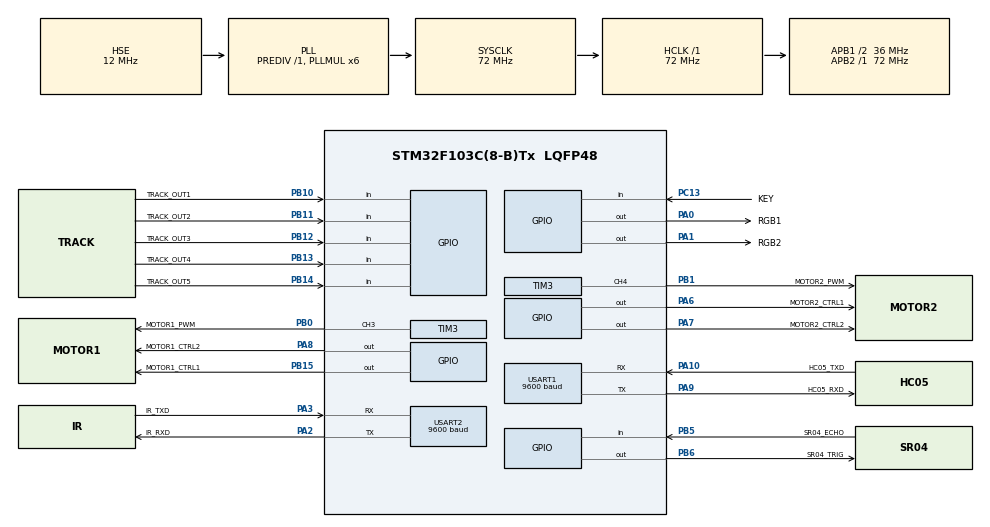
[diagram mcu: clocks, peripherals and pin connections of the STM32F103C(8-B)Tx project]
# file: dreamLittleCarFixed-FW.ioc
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Mcu.Family=STM32F1
Mcu.Name=STM32F103C(8-B)Tx
Mcu.Package=LQFP48
NVIC.PriorityGroup=NVIC_PRIORITYGROUP_4
NVIC.USART2_IRQn=true\:0\:0\:false\:false\:true\:true\:true
PA0-WKUP.GPIO_Label=RGB1
PA0-WKUP.PinState=GPIO_PIN_SET
PA0-WKUP.Signal=GPIO_Output
PA1.GPIO_Label=RGB2
PA1.PinState=GPIO_PIN_SET
PA1.Signal=GPIO_Output
PA10.GPIO_Label=HC05_TXD
PA10.Mode=Asynchronous
PA10.Signal=USART1_RX
PA13.Mode=Serial_Wire
PA13.Signal=SYS_JTMS-SWDIO
PA14.Mode=Serial_Wire
PA14.Signal=SYS_JTCK-SWCLK
PA2.GPIO_Label=IR_RXD
PA2.Mode=Asynchronous
PA2.Signal=USART2_TX
PA3.GPIO_Label=IR_TXD
PA3.Mode=Asynchronous
PA3.Signal=USART2_RX
PA6.GPIO_Label=MOTOR2_CTRL1
PA6.Signal=GPIO_Output
PA7.GPIO_Label=MOTOR2_CTRL2
PA7.Signal=GPIO_Output
PA8.GPIO_Label=MOTOR1_CTRL2
PA8.Signal=GPIO_Output
PA9.GPIO_Label=HC05_RXD
PA9.Mode=Asynchronous
PA9.Signal=USART1_TX
PB0.GPIO_Label=MOTOR1_PWM
PB0.Signal=S_TIM3_CH3
PB1.GPIO_Label=MOTOR2_PWM
PB1.Signal=S_TIM3_CH4
PB10.GPIO_Label=TRACK_OUT1
PB10.Signal=GPIO_Input
PB11.GPIO_Label=TRACK_OUT2
PB11.Signal=GPIO_Input
PB12.GPIO_Label=TRACK_OUT3
PB12.Signal=GPIO_Input
PB13.GPIO_Label=TRACK_OUT4
PB13.Signal=GPIO_Input
PB14.GPIO_Label=TRACK_OUT5
PB14.Signal=GPIO_Input
PB15.GPIO_Label=MOTOR1_CTRL1
PB15.Signal=GPIO_Output
PB5.GPIO_Label=SR04_ECHO
PB5.Signal=GPIO_Input
PB6.GPIO_Label=SR04_TRIG
PB6.GPIO_PuPd=GPIO_PULLDOWN
PB6.GPIO_Speed=GPIO_SPEED_FREQ_HIGH
PB6.Signal=GPIO_Output
PC13-TAMPER-RTC.GPIO_Label=KEY
PC13-TAMPER-RTC.GPIO_PuPd=GPIO_PULLUP
PC13-TAMPER-RTC.Signal=GPIO_Input
PC14-OSC32_IN.Mode=LSE-External-Oscillator
PC14-OSC32_IN.Signal=RCC_OSC32_IN
PC15-OSC32_OUT.Mode=LSE-External-Oscillator
PC15-OSC32_OUT.Signal=RCC_OSC32_OUT
PD0-OSC_IN.Mode=HSE-External-Oscillator
PD0-OSC_IN.Signal=RCC_OSC_IN
PD1-OSC_OUT.Mode=HSE-External-Oscillator
PD1-OSC_OUT.Signal=RCC_OSC_OUT
ProjectManager.HeapSize=0x200
ProjectManager.StackSize=0x400
ProjectManager.TargetToolchain=SW4STM32
RCC.AHBFreq_Value=72000000
RCC.APB1CLKDivider=RCC_HCLK_DIV2
RCC.APB1Freq_Value=36000000
RCC.APB1TimFreq_Value=72000000
RCC.APB2Freq_Value=72000000
RCC.APB2TimFreq_Value=72000000
RCC.HCLKFreq_Value=72000000
RCC.HSE_VALUE=12000000
RCC.PLLMUL=RCC_PLL_MUL6
RCC.PLLSourceVirtual=RCC_PLLSOURCE_HSE
RCC.SYSCLKFreq_VALUE=72000000
RCC.SYSCLKSource=RCC_SYSCLKSOURCE_PLLCLK
RCC.USBFreq_Value=72000000
SH.S_TIM3_CH3.0=TIM3_CH3,PWM Generation3 CH3
SH.S_TIM3_CH4.0=TIM3_CH4,PWM Generation4 CH4
TIM2.Prescaler=71
TIM3.AutoReloadPreload=TIM_AUTORELOAD_PRELOAD_ENABLE
TIM3.Channel-PWM\ Generation3\ CH3=TIM_CHANNEL_3
TIM3.Channel-PWM\ Generation4\ CH4=TIM_CHANNEL_4
TIM3.Period=499
TIM3.Prescaler=71
TIM4.Prescaler=71
USART1.BaudRate=9600
USART1.VirtualMode=VM_ASYNC
USART2.BaudRate=9600
USART2.VirtualMode=VM_ASYNC
VP_TIM2_VS_ClockSourceINT.Mode=Internal
VP_TIM4_VS_ClockSourceINT.Mode=Internal
board=custom

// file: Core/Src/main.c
/* USER CODE BEGIN Header */
/**
  ******************************************************************************
  * @file           : main.c
  * @brief          : Main program body
  ******************************************************************************
  * @attention
  *
  * Copyright (c) 2023 STMicroelectronics.
  * All rights reserved.
  *
  * This software is licensed under terms that can be found in the LICENSE file
  * in the root directory of this software component.
  * If no LICENSE file comes with this software, it is provided AS-IS.
  *
  ******************************************************************************
  * CH -> 00 FF 46 -> MODE SWITCH
  * - -> 00 FF 07 -> STOP
  * 2 -> 00 FF 18 -> FORWARD
  * 8 -> 00 FF 52 -> BACK
  * 4 -> 00 FF 08 -> LEFT
  * 6 -> 00 FF 5A -> RIGHT
  * play -> 00 FF 43 -> GO
  */
/* USER CODE END Header */
#include "main.h"
#include "tim.h"
#include "usart.h"
#include "gpio.h"

/* USER CODE BEGIN Includes */
#include <stdio.h>
#include <string.h>
/* USER CODE END Includes */

/* USER CODE BEGIN PD */
#define TRACK1 HAL_GPIO_ReadPin(TRACK_OUT1_GPIO_Port, TRACK_OUT1_Pin)
#define TRACK2 HAL_GPIO_ReadPin(TRACK_OUT2_GPIO_Port, TRACK_OUT2_Pin)
#define TRACK3 HAL_GPIO_ReadPin(TRACK_OUT3_GPIO_Port, TRACK_OUT3_Pin)
#define TRACK4 HAL_GPIO_ReadPin(TRACK_OUT4_GPIO_Port, TRACK_OUT4_Pin)
#define TRACK5 HAL_GPIO_ReadPin(TRACK_OUT5_GPIO_Port, TRACK_OUT5_Pin)

#define sr04TrigHigh() HAL_GPIO_WritePin(SR04_TRIG_GPIO_Port,SR04_TRIG_Pin,GPIO_PIN_SET)
#define sr04TrigLow()  HAL_GPIO_WritePin(SR04_TRIG_GPIO_Port,SR04_TRIG_Pin,GPIO_PIN_RESET)
#define sr04Echo()  HAL_GPIO_ReadPin(SR04_ECHO_GPIO_Port,SR04_ECHO_Pin)
/* USER CODE END PD */

/* USER CODE BEGIN PM */
uint8_t ifMsgGet = 0;
uint8_t msg = 0;
uint8_t speed = 0;
uint8_t tickFlag = 0;
uint16_t pwmVal = 1;

float kp = 30;
float ki = 1.3;
float kd = 3.5;

extern uint16_t msHcCount = 0;

uint16_t cntWhile;

uint8_t firstTimeRun = 1;

uint8_t rxBuffer[4], rxFlag; // 4 bits buffer enough
uint8_t rxMsg;
uint8_t offSet;

uint8_t carMode = 0; //0->bluetooth 1->IR

uint8_t irStart = 0;
uint8_t irStop = 0;
/* USER CODE END PM */

void SystemClock_Config(void);

/* USER CODE BEGIN PFP */
void littleCarMove();

void goForward();

void goBack();

void turnLeft();

void turnRight();

void turnLeftIR();

void turnRightIR();

void stopAll();

float pidOutput();

void sr04Init();

void sr04TimerMode(uint8_t mode);

float sr04GetDistant();

float sr04GetDistantAfterFilter(uint8_t cnt);

void delayus(uint32_t nus);
/* USER CODE END PFP */

int main(void)
{

  /* MCU Configuration--------------------------------------------------------*/

  /* Reset of all peripherals, Initializes the Flash interface and the Systick. */
  HAL_Init();

  /* Configure the system clock */
  SystemClock_Config();

  /* Initialize all configured peripherals */
  MX_GPIO_Init();
  MX_TIM3_Init();
  MX_USART1_UART_Init();
  MX_TIM4_Init();
  MX_TIM2_Init();
  MX_USART2_UART_Init();
  /* USER CODE BEGIN 2 */

  pwmVal = 230;

  HAL_TIM_PWM_Start(&htim3, TIM_CHANNEL_3);
  HAL_TIM_PWM_Start(&htim3, TIM_CHANNEL_4);

  HAL_UART_Receive_IT(&huart2, (uint8_t *)&rxMsg, 1);
  /* USER CODE END 2 */

  /* Infinite loop */
  /* USER CODE BEGIN WHILE */
  HAL_UART_Transmit(&huart1, "Ready!\r\n", sizeof("Ready!\r\n"), 20);
  HAL_UART_Transmit(&huart1, "Waiting...\r\n", sizeof("Waiting...\r\n"), 20);
  HAL_UART_Transmit(&huart1, "Motor Power:", sizeof("Motor Power:"), 20);
  char powerMsg[10] = "";
  sprintf(powerMsg, "%.2f", 1000000.0 / pwmVal / 10000.0);
  HAL_UART_Transmit(&huart1, powerMsg, sizeof(powerMsg), 20);

    __HAL_TIM_SetCompare(&htim3, TIM_CHANNEL_3, pwmVal);
    __HAL_TIM_SetCompare(&htim3, TIM_CHANNEL_4, pwmVal - 30);

  while (1)
  {
    /* USER CODE END WHILE */

    /* USER CODE BEGIN 3 */

    if(rxFlag == 1) //receive message
    {
      //switch mode
      //HAL_UART_Transmit(&huart1, &rxBuffer[2], sizeof(rxBuffer[2]), 13);

      if (rxBuffer[2] == 0x46)
      {
        carMode++;
        if (carMode > 1)  carMode = 0;
        if (carMode == 1) HAL_UART_Transmit(&huart1, "IR Mode!\r\n", sizeof("IR Mode!\r\n"), 20);
        if (carMode == 0) HAL_UART_Transmit(&huart1, "BT Mode!\r\n", sizeof("BT Mode!\r\n"), 20);
      }

      //stop
      if (rxBuffer[2] == 0x07)
      {
        stopAll();
        irStop = 1;
        HAL_UART_Transmit(&huart1, "Stop By User.\r\n", sizeof("Stop By User.\r\n"), 13);
      }

      //forward
      if (rxBuffer[2] == 0x18 && carMode == 1) goForward();

      //back
      if (rxBuffer[2] == 0x52 && carMode == 1) goBack();

      //turn right
      if (rxBuffer[2] == 0x5A && carMode == 1) turnRightIR();

      //turn left
      if (rxBuffer[2] == 0x08 && carMode == 1) turnLeftIR();

      //start
      if (rxBuffer[2] == 0x43 && carMode == 0) irStart = 1;

      memset(rxBuffer, '\0', sizeof(rxBuffer)); //clear buffer
      rxFlag = 0;
    }

    while ((msg != '1') && HAL_UART_Receive(&huart1, &msg, 1, 0) == HAL_OK);

    if (msg == '1' || !HAL_GPIO_ReadPin(KEY_GPIO_Port, KEY_Pin) || irStart == 1)
    {
      if (irStart == 1) irStart = 0;  //if start by ir, reset flag
      ifMsgGet = 1;
      msg = 0;
    }
    if (ifMsgGet)
    {
      HAL_UART_Transmit(&huart1, "Get!\r\n", sizeof("Get!\r\n"), 20);
      ifMsgGet = 0;

      littleCarMove();
    }
  }
  /* USER CODE END 3 */
}

void SystemClock_Config(void)
{
  RCC_OscInitTypeDef RCC_OscInitStruct = {0};
  RCC_ClkInitTypeDef RCC_ClkInitStruct = {0};

  /** Initializes the RCC Oscillators according to the specified parameters
  * in the RCC_OscInitTypeDef structure.
  */
  RCC_OscInitStruct.OscillatorType = RCC_OSCILLATORTYPE_HSE;
  RCC_OscInitStruct.HSEState = RCC_HSE_ON;
  RCC_OscInitStruct.HSEPredivValue = RCC_HSE_PREDIV_DIV1;
  RCC_OscInitStruct.HSIState = RCC_HSI_ON;
  RCC_OscInitStruct.PLL.PLLState = RCC_PLL_ON;
  RCC_OscInitStruct.PLL.PLLSource = RCC_PLLSOURCE_HSE;
  RCC_OscInitStruct.PLL.PLLMUL = RCC_PLL_MUL6;
  if (HAL_RCC_OscConfig(&RCC_OscInitStruct) != HAL_OK)
  {
    Error_Handler();
  }
  /** Initializes the CPU, AHB and APB buses clocks
  */
  RCC_ClkInitStruct.ClockType = RCC_CLOCKTYPE_HCLK | RCC_CLOCKTYPE_SYSCLK
                                | RCC_CLOCKTYPE_PCLK1 | RCC_CLOCKTYPE_PCLK2;
  RCC_ClkInitStruct.SYSCLKSource = RCC_SYSCLKSOURCE_PLLCLK;
  RCC_ClkInitStruct.AHBCLKDivider = RCC_SYSCLK_DIV1;
  RCC_ClkInitStruct.APB1CLKDivider = RCC_HCLK_DIV2;
  RCC_ClkInitStruct.APB2CLKDivider = RCC_HCLK_DIV1;

  if (HAL_RCC_ClockConfig(&RCC_ClkInitStruct, FLASH_LATENCY_2) != HAL_OK)
  {
    Error_Handler();
  }
}

/* USER CODE BEGIN 4 */
void delayus(uint32_t nus)
{
  uint16_t differ = 0xffff - nus - 5;
    __HAL_TIM_SetCounter(&htim4, differ);
  HAL_TIM_Base_Start(&htim4);

  while (differ < 0xffff - 5)
  {
    differ = __HAL_TIM_GetCounter(&htim4);
  };

  HAL_TIM_Base_Stop(&htim4);
}

void goForward()
{
    __HAL_TIM_SetCompare(&htim3, TIM_CHANNEL_3, pwmVal);    //修改比较值，修改占空�?????
  //__HAL_TIM_SetCompare(&htim3, TIM_CHANNEL_4, pwmVal);    //修改比较值，修改占空�?????
    __HAL_TIM_SetCompare(&htim3, TIM_CHANNEL_4, pwmVal - 8);    //修改比较值，修改占空�?????
  HAL_GPIO_WritePin(MOTOR1_CTRL1_GPIO_Port, MOTOR1_CTRL1_Pin, 1);
  HAL_GPIO_WritePin(MOTOR1_CTRL2_GPIO_Port, MOTOR1_CTRL2_Pin, 0);
  HAL_GPIO_WritePin(MOTOR2_CTRL1_GPIO_Port, MOTOR2_CTRL1_Pin, 0);
  HAL_GPIO_WritePin(MOTOR2_CTRL2_GPIO_Port, MOTOR2_CTRL2_Pin, 1);
}

void goBack()
{
    __HAL_TIM_SetCompare(&htim3, TIM_CHANNEL_3, pwmVal);    //修改比较值，修改占空�?????
  //__HAL_TIM_SetCompare(&htim3, TIM_CHANNEL_4, pwmVal);    //修改比较值，修改占空�?????
    __HAL_TIM_SetCompare(&htim3, TIM_CHANNEL_4, pwmVal - 9);    //修改比较值，修改占空�?????
  HAL_GPIO_WritePin(MOTOR1_CTRL1_GPIO_Port, MOTOR1_CTRL1_Pin, 0);
  HAL_GPIO_WritePin(MOTOR1_CTRL2_GPIO_Port, MOTOR1_CTRL2_Pin, 1);
  HAL_GPIO_WritePin(MOTOR2_CTRL1_GPIO_Port, MOTOR2_CTRL1_Pin, 1);
  HAL_GPIO_WritePin(MOTOR2_CTRL2_GPIO_Port, MOTOR2_CTRL2_Pin, 0);
}

void stopAll()
{
  HAL_GPIO_WritePin(MOTOR1_CTRL1_GPIO_Port, MOTOR1_CTRL1_Pin, 1);
  HAL_GPIO_WritePin(MOTOR1_CTRL2_GPIO_Port, MOTOR1_CTRL2_Pin, 1);
  HAL_GPIO_WritePin(MOTOR2_CTRL1_GPIO_Port, MOTOR2_CTRL1_Pin, 1);
  HAL_GPIO_WritePin(MOTOR2_CTRL2_GPIO_Port, MOTOR2_CTRL2_Pin, 1);
}

void turnLeft()
{
  //电机2反转
//    __HAL_TIM_SetCompare(&htim3, TIM_CHANNEL_3, pwmVal-50);    //修改比较值，修改占空�?????
    __HAL_TIM_SetCompare(&htim3, TIM_CHANNEL_3, pwmVal - 45);    //修改比较值，修改占空�?????
  HAL_GPIO_WritePin(MOTOR1_CTRL1_GPIO_Port, MOTOR1_CTRL1_Pin, 1);
  HAL_GPIO_WritePin(MOTOR1_CTRL2_GPIO_Port, MOTOR1_CTRL2_Pin, 0);
  HAL_GPIO_WritePin(MOTOR2_CTRL1_GPIO_Port, MOTOR2_CTRL1_Pin, 1);
  HAL_GPIO_WritePin(MOTOR2_CTRL2_GPIO_Port, MOTOR2_CTRL2_Pin, 1);
}

void turnLeftIR()
{
    __HAL_TIM_SetCompare(&htim3, TIM_CHANNEL_3, pwmVal);    //修改比较值，修改占空�?????
    __HAL_TIM_SetCompare(&htim3, TIM_CHANNEL_4, pwmVal);    //修改比较值，修改占空�?????
  HAL_GPIO_WritePin(MOTOR1_CTRL1_GPIO_Port, MOTOR1_CTRL1_Pin, 1);
  HAL_GPIO_WritePin(MOTOR1_CTRL2_GPIO_Port, MOTOR1_CTRL2_Pin, 0);
  HAL_GPIO_WritePin(MOTOR2_CTRL1_GPIO_Port, MOTOR2_CTRL1_Pin, 1);
  HAL_GPIO_WritePin(MOTOR2_CTRL2_GPIO_Port, MOTOR2_CTRL2_Pin, 1);
}

void turnRight()
{
  //电机1反转
//  __HAL_TIM_SetCompare(&htim3, TIM_CHANNEL_4, pwmVal-40);    //修改比较值，修改占空�?????
    __HAL_TIM_SetCompare(&htim3, TIM_CHANNEL_4, pwmVal - 40);    //修改比较值，修改占空�?????
  HAL_GPIO_WritePin(MOTOR1_CTRL1_GPIO_Port, MOTOR1_CTRL1_Pin, 1);
  HAL_GPIO_WritePin(MOTOR1_CTRL2_GPIO_Port, MOTOR1_CTRL2_Pin, 1);
  HAL_GPIO_WritePin(MOTOR2_CTRL1_GPIO_Port, MOTOR2_CTRL1_Pin, 0);
  HAL_GPIO_WritePin(MOTOR2_CTRL2_GPIO_Port, MOTOR2_CTRL2_Pin, 1);
}

void turnRightIR()
{
  __HAL_TIM_SetCompare(&htim3, TIM_CHANNEL_3, pwmVal);    //修改比较值，修改占空�?????
  __HAL_TIM_SetCompare(&htim3, TIM_CHANNEL_4, pwmVal);    //修改比较值，修改占空�?????
  HAL_GPIO_WritePin(MOTOR1_CTRL1_GPIO_Port, MOTOR1_CTRL1_Pin, 1);
  HAL_GPIO_WritePin(MOTOR1_CTRL2_GPIO_Port, MOTOR1_CTRL2_Pin, 1);
  HAL_GPIO_WritePin(MOTOR2_CTRL1_GPIO_Port, MOTOR2_CTRL1_Pin, 0);
  HAL_GPIO_WritePin(MOTOR2_CTRL2_GPIO_Port, MOTOR2_CTRL2_Pin, 1);
}

void sr04Init()
{
  sr04TrigHigh();
  delayus(20);
  sr04TrigLow();
}

void sr04TimerMode(uint8_t mode)
{
  //mode=1-->open timer
  //mode=0-->close timer
  if (mode)
  {
      __HAL_TIM_SetCounter(&htim2, 0);
    HAL_TIM_Base_Start(&htim2);
    //HAL_TIM_Base_Start_IT(&htim2);
    msHcCount = 0;
  } else
  {
    HAL_TIM_Base_Stop(&htim2);
    //HAL_TIM_Base_Stop_IT(&htim2);
  }
}

float sr04GetDistant()
{
  sr04Init();
  while (!sr04Echo());
  sr04TimerMode(1);//start timer
  while (sr04Echo());
  sr04TimerMode(0);//stop timer

  return (__HAL_TIM_GetCounter(&htim2)) / 58.0;
}

float sr04GetDistantAfterFilter(uint8_t cnt)
{
  float sum = 0;
  for (int i = 0; i < cnt; i++)
  {
    sum += sr04GetDistant();
  }
  return sum / cnt;
}

float pidOutput()
{
  float err, errPre;
  static float integral;
  float output;

  if (TRACK1 == 1 && TRACK2 == 1 && TRACK3 == 0 && TRACK4 == 1 && TRACK5 == 1) err = 0;

  else if (TRACK1 == 1 && TRACK2 == 0 && TRACK3 == 1 && TRACK4 == 1 && TRACK5 == 1) err = -1;
  else if (TRACK1 == 0 && TRACK2 == 0 && TRACK3 == 1 && TRACK4 == 1 && TRACK5 == 1) err = -2;
  else if (TRACK1 == 0 && TRACK2 == 1 && TRACK3 == 1 && TRACK4 == 1 && TRACK5 == 1) err = -3;

  else if (TRACK1 == 1 && TRACK2 == 1 && TRACK3 == 1 && TRACK4 == 0 && TRACK5 == 1) err = 1;
  else if (TRACK1 == 1 && TRACK2 == 1 && TRACK3 == 1 && TRACK4 == 0 && TRACK5 == 0) err = 2;
  else if (TRACK1 == 1 && TRACK2 == 1 && TRACK3 == 1 && TRACK4 == 1 && TRACK5 == 0) err = 3;

  else err = 0;

  integral += err;
  output = kp * err + ki * integral + kd * (err - errPre);
  errPre = err;
  return output;
}

void littleCarMove()
{
  while (1)
  {
    HAL_UART_Receive(&huart1, &msg, 1, 10);

    if (irStop == 1)
    {
      stopAll();
      irStop = 0; //if stop by ir, reset flag.
      return;
    }

    if (msg == '3') //emergency stop by usart
    {
      msg = 0;
      HAL_UART_Transmit(&huart1, "Stop By User.\r\n", sizeof("Stop By User.\r\n"), 13);
      stopAll();
      return;
    }

    if (cntWhile % 10 == 0) //per 10 time scan distant, if too close, stop.
    {
      float distant = sr04GetDistantAfterFilter(5);
      if (distant < 20)
      {
        msg = 0;
        HAL_UART_Transmit(&huart1, "Too Close! Stop!\r\n", sizeof("Too Close! Stop!\r\n"), 17);

        stopAll();
        return;
      }
    }

    if (firstTimeRun) //run anyway when on power.
    {

      __HAL_TIM_SetCompare(&htim3, TIM_CHANNEL_3, pwmVal);    //修改比较值，修改占空�?????
      __HAL_TIM_SetCompare(&htim3, TIM_CHANNEL_4, pwmVal);    //修改比较值，修改占空�?????
      HAL_GPIO_WritePin(MOTOR1_CTRL1_GPIO_Port, MOTOR1_CTRL1_Pin, 1);
      HAL_GPIO_WritePin(MOTOR1_CTRL2_GPIO_Port, MOTOR1_CTRL2_Pin, 0);
      HAL_GPIO_WritePin(MOTOR2_CTRL1_GPIO_Port, MOTOR2_CTRL1_Pin, 0);
      HAL_GPIO_WritePin(MOTOR2_CTRL2_GPIO_Port, MOTOR2_CTRL2_Pin, 1);
      HAL_Delay(1500);
      firstTimeRun = 0;
    }

    if (TRACK2 == 0 || TRACK4 == 0)
    {
      if (TRACK2 == 0)
      {
        HAL_Delay(10);
        if (TRACK2 == 0)
        {
          turnLeft();
        }
      }
      if (TRACK4 == 0)
      {
        HAL_Delay(10);
        if (TRACK4 == 0)
        {
          turnRight();
        }
      }
    } else if (TRACK1 == 0 || TRACK5 == 0)
    {
      if (TRACK1 == 0)
      {
        HAL_Delay(11);
        if (TRACK1 == 0)
        {
          turnLeft();
          while (TRACK3 == 1);
        }
      }

      if (TRACK5 == 0)
      {
        HAL_Delay(11);
        if (TRACK5 == 0)
        {
          turnRight();
          while (TRACK3 == 1);
        }
      }
    } else goForward();

    if (tickFlag == 1)
    {
      HAL_UART_Transmit(&huart1, "Running...\r\n", sizeof("Running...\r\n"), 8);
      tickFlag = 0;
    }
    cntWhile++;
  }
}
/* USER CODE END 4 */

void Error_Handler(void)
{
  __disable_irq();
  while (1)
  {
  }
}
